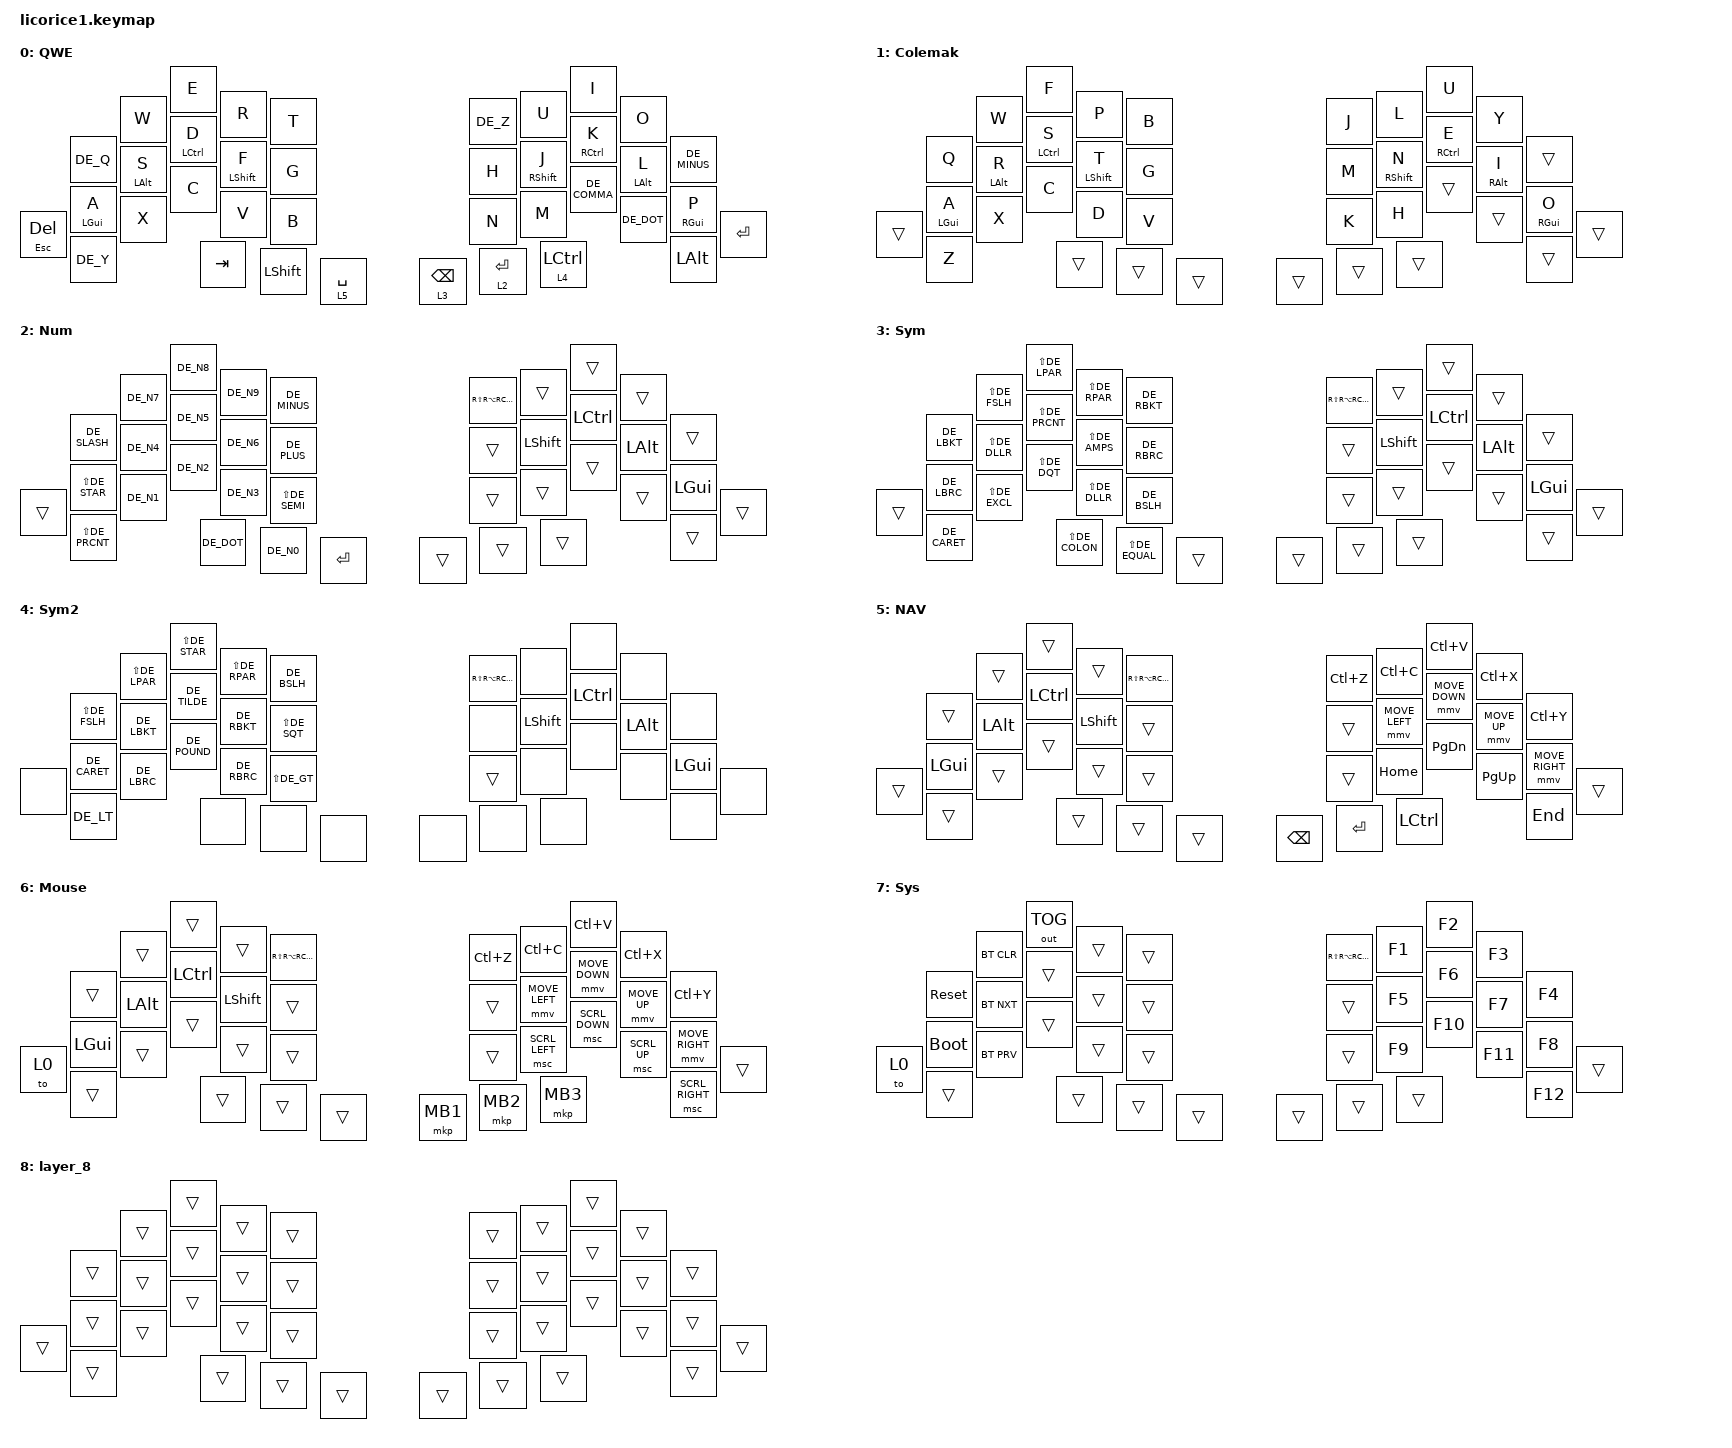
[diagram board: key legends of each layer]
// This file was generated from a template. Edit it to match your keyboard.
// See https://zmk.dev/docs/development/hardware-integration/new-shield for more instructions.

#include <locale/keys_de.h>
#include <behaviors.dtsi>
#include <dt-bindings/zmk/bt.h>
#include <dt-bindings/zmk/keys.h>
#include <dt-bindings/zmk/outputs.h>
#include <dt-bindings/zmk/pointing.h>

&mt {
    flavor = "tap-preferred";
    bindings = <&kp>, <&kp>;

    tapping-term-ms = <250>;
    quick-tap-ms = <0>;
    require-prior-idle-ms = <125>;
};

/ {
    // Define a default keymap here.
    // See https://zmk.dev/docs/development/hardware-integration/new-shield#default-keymap.

    combos {
        compatible = "zmk,combos";

        ent+tab-mouse {
            bindings = <&to 6>;
            key-positions = <32 31>;
            layers = <0 1>;
        };

        to-sys {
            bindings = <&to 7>;
            key-positions = <20 31>;
        };

        ausrufe {
            bindings = <&kp DE_EXCLAMATION>;
            key-positions = <0 1>;
            layers = <0 1>;
        };

        quotemarks {
            bindings = <&kp DE_DQT>;
            key-positions = <1 2>;
        };

        slash {
            bindings = <&kp DE_FSLH>;
            key-positions = <2 3>;
        };

        question {
            bindings = <&kp DE_QMARK>;
            key-positions = <6 7>;
        };

        qt {
            bindings = <&kp DE_SQT>;
            key-positions = <7 8>;
        };

        bracket {
            bindings = <&kp DE_LEFT_PARENTHESIS>;
            key-positions = <16 17>;
        };

        closebracket {
            bindings = <&kp DE_RIGHT_PARENTHESIS>;
            key-positions = <17 18>;
        };

        toColemak {
            bindings = <&to 1>;
            key-positions = <31 23 22>;
        };

        toQwertz {
            bindings = <&to 0>;
            key-positions = <31 9>;
        };
        
        Map1 {
            bindings = <&kp RA(RS(RC(NUMBER_8)))>;
            key-positions = <18 19 4>;
        };
    };

    keymap {
        compatible = "zmk,keymap";

        QWERTZ {
            display-name = "QWE";
            bindings = <
                &kp DE_Q       &kp W    &kp E        &kp R        &kp T             &kp DE_Z         &kp U        &kp I        &kp O       &kp DE_MINUS
                &mt LGUI A  &mt LALT S  &mt LCTRL D  &mt LSHFT F  &kp G             &kp H            &mt RSHFT J  &mt RCTRL K  &mt LALT L  &mt RGUI P
&mt ESCAPE DEL  &kp DE_Y       &kp X    &kp C        &kp V        &kp B             &kp N            &kp M        &kp DE_COMMA &kp DE_DOT  &kp LEFT_ALT  &kp ENTER
                                        &kp TAB      &kp LSHFT    &lt 5 SPACE       &lt 3 BACKSPACE  &lt 2 ENTER  &lt 4 LCTRL
            >;
        };

        Colemak {
            bindings = <
        &kp Q       &kp W       &kp F        &kp P        &kp B     &kp J   &kp L        &kp U        &kp Y       &trans
        &mt LGUI A  &mt LALT R  &mt LCTRL S  &mt LSHFT T  &kp G     &kp M   &mt RSHFT N  &mt RCTRL E  &mt RALT I  &mt RGUI O
&trans  &kp Z       &kp X       &kp C        &kp D        &kp V     &kp K   &kp H        &trans       &trans      &trans      &trans
                                &trans       &trans       &trans    &trans  &trans       &trans
            >;
        };

        Num {
            bindings = <
        &kp DE_SLASH      &kp DE_N7  &kp DE_N8   &kp DE_N9  &kp DE_MINUS       &kp RS(RA(RC(NUMBER_3))) &trans          &trans     &trans        &trans
        &kp LS(DE_STAR)   &kp DE_N4  &kp DE_N5   &kp DE_N6  &kp DE_PLUS        &trans                   &kp LEFT_SHIFT  &kp LCTRL  &kp LEFT_ALT  &kp LEFT_GUI
&trans  &kp LS(DE_PRCNT)  &kp DE_N1  &kp DE_N2   &kp DE_N3  &kp LS(DE_SEMI)    &trans                   &trans          &trans     &trans        &trans        &trans
                                     &kp DE_DOT  &kp DE_N0  &kp RET            &trans                   &trans          &trans
            >;
        };

        Sym {
            bindings = <
        &kp DE_LBKT   &kp LS(DE_FSLH)  &kp LS(DE_LPAR)   &kp LS(DE_RPAR)   &kp DE_RBKT    &kp RS(RA(RC(NUMBER_4)))  &trans          &trans     &trans        &trans
        &kp DE_LBRC   &kp LS(DE_DLLR)  &kp LS(DE_PRCNT)  &kp LS(DE_AMPS)   &kp DE_RBRC    &trans                    &kp LEFT_SHIFT  &kp LCTRL  &kp LEFT_ALT  &kp LEFT_GUI
&trans  &kp DE_CARET  &kp LS(DE_EXCL)  &kp LS(DE_DQT)    &kp LS(DE_DLLR)   &kp DE_BSLH    &trans                    &trans          &trans     &trans        &trans        &trans
                                                        &kp LS(DE_COLON)  &kp LS(DE_EQUAL) &trans                  &trans          &trans     &trans
            >;
        };

        Sym2 {
            bindings = <
       &kp LS(DE_FSLH)  &kp LS(DE_LPAR)  &kp LS(DE_STAR)  &kp LS(DE_RPAR)  &kp DE_BSLH       &kp RS(RA(RC(N5)))  &none      &none      &none     &none
       &kp DE_CARET     &kp DE_LBKT      &kp DE_TILDE     &kp DE_RBKT      &kp LS(DE_SQT)    &none               &kp LSHFT  &kp LCTRL  &kp LALT  &kp LGUI
&none  &kp DE_LT        &kp DE_LBRC      &kp DE_POUND     &kp DE_RBRC      &kp LS(DE_GT)     &trans              &none      &none      &none     &none     &none
                                                &none         &none         &none            &none               &none      &none
            >;
        };

        NAV {
            bindings = <
        &trans    &trans    &trans     &trans     &kp RS(RA(RC(NUMBER_6)))    &kp LC(Z)  &kp LC(C)       &kp LC(V)       &kp LC(X)     &kp LC(Y)
        &kp LGUI  &kp LALT  &kp LCTRL  &kp LSHFT  &trans                      &trans     &mmv MOVE_LEFT  &mmv MOVE_DOWN  &mmv MOVE_UP  &mmv MOVE_RIGHT
&trans  &trans    &trans    &trans     &trans     &trans                      &trans     &kp HOME        &kp PG_DN       &kp PG_UP     &kp END          &trans
                            &trans     &trans     &trans                      &kp BSPC   &kp ENTER       &kp LCTRL
            >;
        };

        Mouse {
            bindings = <
       &trans    &trans    &trans     &trans     &kp RS(RA(RC(NUMBER_7)))    &kp LC(Z)  &kp LC(C)       &kp LC(V)       &kp LC(X)     &kp LC(Y)
       &kp LGUI  &kp LALT  &kp LCTRL  &kp LSHFT  &trans                      &trans     &mmv MOVE_LEFT  &mmv MOVE_DOWN  &mmv MOVE_UP  &mmv MOVE_RIGHT
&to 0  &trans    &trans    &trans     &trans     &trans                      &trans     &msc SCRL_LEFT  &msc SCRL_DOWN  &msc SCRL_UP  &msc SCRL_RIGHT  &trans
                           &trans     &trans     &trans                      &mkp MB1   &mkp MB2        &mkp MB3
            >;
        };

        Sys {
            bindings = <
       &sys_reset   &bt BT_CLR  &out OUT_TOG  &trans  &trans    &kp RS(RA(RC(NUMBER_8)))  &kp F1  &kp F2   &kp F3   &kp F4
       &bootloader  &bt BT_NXT  &trans        &trans  &trans    &trans                    &kp F5  &kp F6   &kp F7   &kp F8
&to 0  &trans       &bt BT_PRV  &trans        &trans  &trans    &trans                    &kp F9  &kp F10  &kp F11  &kp F12  &trans
                                &trans        &trans  &trans    &trans                    &trans  &trans
            >;
        };

        layer_8 {
            bindings = <
        &trans  &trans  &trans  &trans  &trans    &trans  &trans  &trans  &trans  &trans
        &trans  &trans  &trans  &trans  &trans    &trans  &trans  &trans  &trans  &trans
&trans  &trans  &trans  &trans  &trans  &trans    &trans  &trans  &trans  &trans  &trans  &trans
                        &trans  &trans  &trans    &trans  &trans  &trans
            >;
        };
    };
};
